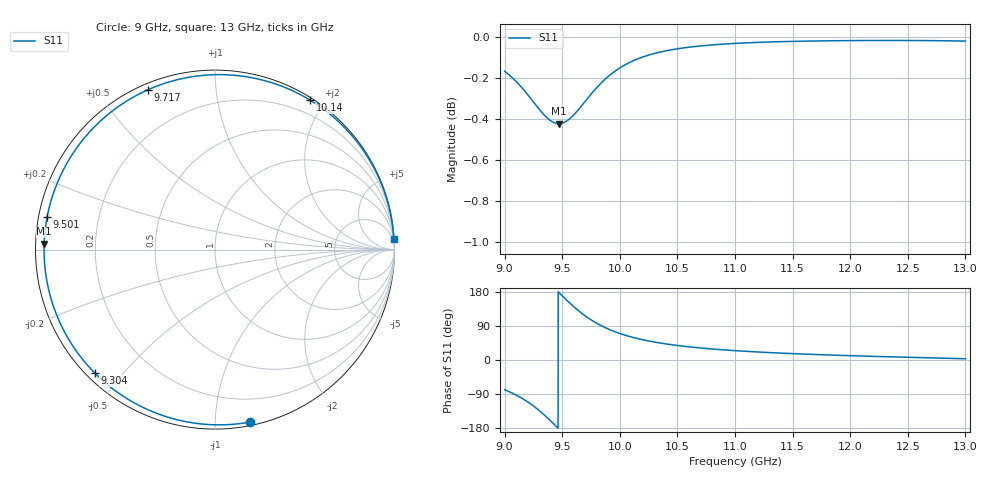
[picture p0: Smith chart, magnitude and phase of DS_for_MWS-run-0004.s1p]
! TOUCHSTONE file generated by CST DESIGN STUDIO
! Date and time: Tue Feb  4 14:09:28 2025
! Project name: C:\Work\MatlabApps\UnitCellOptimizationMatlab\CST\unitcell.cst
! Tree item: Tasks\Sweep1\SPara1\S-Parameters
! Header version: 2024
! Port assignment regex: !\s*Touchstone port\s*([0-9]+)\s*=\s*(CST MWS port|CST DES external port|CST DES block port)\s*(.+)\s* \(\"(.*)\"\)(\s*mode\s*([0-9]+))?.*
! Touchstone port assignment:
! Touchstone port 1 = CST DES external port 1 ("")
# GHz S MA R 50
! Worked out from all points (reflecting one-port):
!   4001 points, 9 GHz to 13 GHz, reference 50 ohm
!   lowest |S11| = -0.4 dB at 9.471 GHz (marker M1), VSWR 41.10, Z = 1.22 + j0.848 ohm
!   phase of S11 starts at -79 deg and turns -278 deg over the sweep
!   S11 on the Smith chart (normalised r, x): 9 GHz: 0.02, -1.22; 9.304 GHz: 0.02, -0.42; 9.501 GHz: 0.02, +0.10; 9.717 GHz: 0.03, +0.67; 10.14 GHz: 0.03, +1.82; 13 GHz: 2, +35
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9  0.9808 -78.5
9.076  0.9767 -88.8
9.173  0.9701 -105.2
9.241  0.9648 -119.2
9.304  0.9599 -134.4
9.348  0.9568 -146.0
9.394  0.9543 -159.0
9.433  0.9529 -170.5
9.471  0.9525 178.1
9.5  0.9528 169.4
9.501  0.9528 169.1
9.553  0.9545 153.8
9.612  0.9579 137.6
9.664  0.9617 124.6
9.717  0.9658 112.7
9.773  0.97 101.7
9.835  0.9742 91.1
9.916  0.9788 79.6
10  0.9826 70.0
10.141  0.9872 57.5
10.303  0.9906 47.2
10.5  0.9932 38.3
10.722  0.9949 31.1
11  0.9962 24.6
11.5  0.9973 16.8
12  0.9978 11.4
12.5  0.9978 7.1
13  0.9975 3.2
